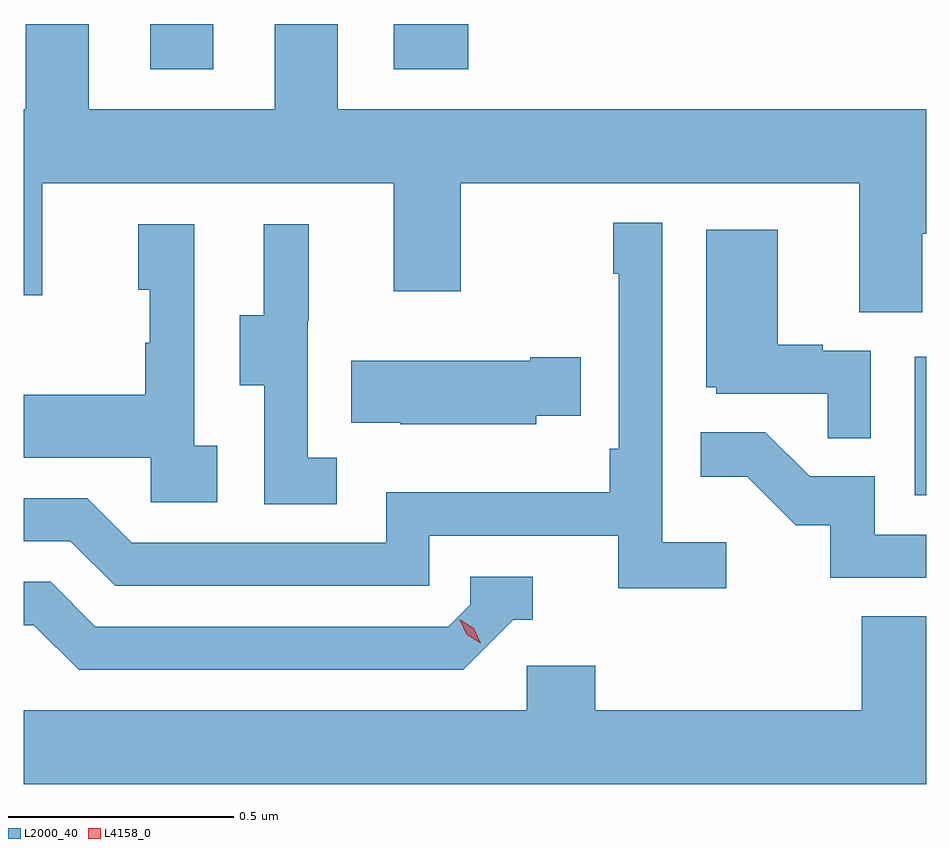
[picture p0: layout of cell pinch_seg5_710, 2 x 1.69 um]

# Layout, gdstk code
import gdstk
lib = gdstk.Library(unit=1e-6, precision=1e-09)
def R(c, l, rs):  # rectangles x0, y0, x1, y1
    for r in rs: c.add(gdstk.rectangle(r[:2], r[2:], *l))
def P(c, l, *ps):  # polygons
    for p in ps: c.add(gdstk.Polygon(p, *l))
L2000_40 = (2000, 40)
L4158_0 = (4158, 0)

pinch_seg5_710 = lib.new_cell('pinch_seg5_710')
R(pinch_seg5_710, L2000_40, [(1123.514,850.74,1123.539,851.047), (1121.819,851.685,1121.959,851.785), (1122.359,851.685,1122.524,851.785)])
P(pinch_seg5_710, L2000_40, [(1123.531,851.32),(1123.539,851.32),(1123.539,851.596),(1122.235,851.596),(1122.235,851.785),(1122.095,851.785),(1122.095,851.596),(1121.683,851.596),(1121.683,851.785),(1121.543,851.785),(1121.543,851.596),(1121.539,851.596),(1121.539,851.184),(1121.579,851.184),(1121.579,851.432),(1122.359,851.432),(1122.359,851.193),(1122.507,851.193),(1122.507,851.432),(1123.391,851.432),(1123.391,851.146),(1123.531,851.146)],
  [(1123.096,850.636),(1122.954,850.636),(1122.954,851.344),(1122.846,851.344),(1122.846,851.231),(1122.858,851.231),(1122.858,850.843),(1122.838,850.843),(1122.838,850.747),(1122.342,850.747),(1122.342,850.635),(1121.778,850.635),(1121.679,850.734),(1121.539,850.734),(1121.539,850.638),(1121.642,850.638),(1121.741,850.539),(1122.438,850.539),(1122.438,850.65),(1122.857,850.65),(1122.857,850.534),(1123.096,850.534)],
  [(1122.232,850.823),(1122.168,850.823),(1122.168,851.127),(1122.17,851.127),(1122.17,851.341),(1122.071,851.341),(1122.071,851.139),(1122.017,851.139),(1122.017,850.984),(1122.072,850.984),(1122.072,850.72),(1122.232,850.72)],
  [(1121.968,850.85),(1121.916,850.85),(1121.916,851.341),(1121.792,851.341),(1121.792,851.196),(1121.818,851.196),(1121.818,851.078),(1121.808,851.078),(1121.808,850.963),(1121.539,850.963),(1121.539,850.823),(1121.82,850.823),(1121.82,850.725),(1121.968,850.725)],
  [(1123.416,851.061),(1123.31,851.061),(1123.31,851.074),(1123.21,851.074),(1123.21,851.329),(1123.052,851.329),(1123.052,850.98),(1123.074,850.98),(1123.074,850.965),(1123.321,850.965),(1123.321,850.867),(1123.416,850.867)],
  [(1122.675,850.916),(1122.773,850.916),(1122.773,851.046),(1122.662,851.046),(1122.662,851.038),(1122.265,851.038),(1122.265,850.901),(1122.373,850.901),(1122.373,850.898),(1122.675,850.898)],
  [(1123.539,850.653),(1123.425,850.653),(1123.425,850.782),(1123.281,850.782),(1123.183,850.88),(1123.039,850.88),(1123.039,850.781),(1123.143,850.781),(1123.25,850.674),(1123.327,850.674),(1123.327,850.557),(1123.539,850.557)],
  [(1122.624,850.464),(1122.667,850.464),(1122.667,850.56),(1122.528,850.56),(1122.528,850.497),(1122.48,850.449),(1121.697,850.449),(1121.598,850.548),(1121.539,850.548),(1121.539,850.452),(1121.561,850.452),(1121.66,850.353),(1122.513,850.353)],
  [(1123.539,850.472),(1123.397,850.472),(1123.397,850.264),(1122.806,850.264),(1122.806,850.362),(1122.654,850.362),(1122.654,850.264),(1121.539,850.264),(1121.539,850.1),(1123.539,850.1)])
P(pinch_seg5_710, L4158_0, [(1122.552,850.412),(1122.521,850.431),(1122.505,850.464),(1122.505,850.464),(1122.506,850.464),(1122.536,850.445),(1122.552,850.412),(1122.552,850.412)])

lib.write_gds('pinch_seg5_710.gds')
